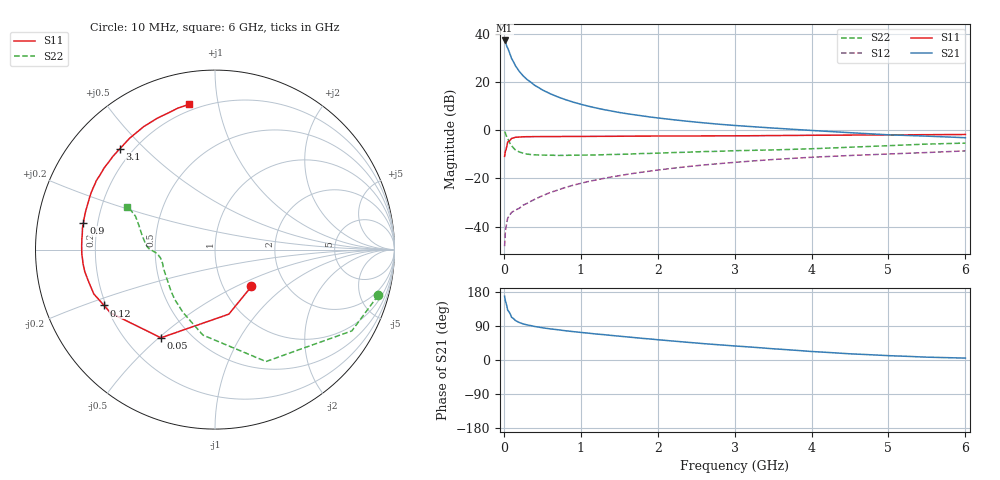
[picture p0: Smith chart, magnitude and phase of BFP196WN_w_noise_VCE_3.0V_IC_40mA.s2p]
! (c) 2017  Infineon Technologies AG, Munich
! Infineon Technologies  Discrete & RF Semiconductors
! BFP196WN
! VCE =  3.0 V,  IC =  40 mA
! Common Emitter S-Parameters:  Jan 2017
# GHz  S  MA  R  50
!  f  S11  S21  S12  S22
! GHz  MAG  ANG  MAG  ANG  MAG  ANG  MAG  ANG
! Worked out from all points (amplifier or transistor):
!   77 points, 10 MHz to 6 GHz, reference 50 ohm
!   highest |S21| = 37.4 dB at 10 MHz (marker M1)
!   |S21| within 3 dB of that: start of sweep to 46.97 MHz
!   unconditionally stable (mu >= 1): 653.4 MHz to 2.759 GHz
!   at 130 MHz: K = 0.50, MSG = 30.9 dB, |S12| = -33.6 dB
!   at 2.2 GHz: K = 1.02, MAG = 9.2 dB, |S12| = -15.7 dB
!   at 6 GHz: K = 0.92, MSG = 2.7 dB, |S12| = -8.5 dB
!   lowest NFmin = 1.16 dB at 450 MHz
!   S11 on the Smith chart (normalised r, x): 10 MHz: 1.35, -0.61; 50 MHz: 0.35, -0.51; 120 MHz: 0.19, -0.23; 900 MHz: 0.15, +0.10; 3.1 GHz: 0.15, +0.42; 6 GHz: 0.16, +0.82
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0.01  0.2886 -45.3  74.39 168.3  0.0039 76.5  0.9439 -15.7
0.02  0.3678 -77.9  68.51 156.1  0.0079 72.3  0.8868 -30.7
0.05  0.5764 -121.5  51.35 131.6  0.0149 52.2  0.6853 -65.5
0.1  0.6799 -148.7  31.5 112.9  0.0196 46.3  0.4813 -98.0
0.12  0.6923 -153.3  27.72 110.1  0.0206 46.3  0.4407 -104.6
0.15  0.719 -159.9  22.22 104.2  0.022 46.2  0.3935 -116.8
0.2  0.7276 -166.4  16.96 99.0  0.0239 48.5  0.3567 -129.1
0.25  0.7358 -170.4  13.71 95.3  0.0278 51.3  0.3358 -137.1
0.3  0.7391 -173.7  11.51 92.7  0.0302 54.7  0.3212 -143.8
0.4  0.7424 -178.3  8.696 88.4  0.0367 59.2  0.3102 -151.8
0.5  0.7432 178.4  6.97 85.1  0.0435 61.6  0.3064 -157.4
0.6  0.7439 175.5  5.824 82.2  0.0508 63.3  0.3049 -161.5
0.7  0.7446 173.2  4.987 79.9  0.0573 65.4  0.3019 -164.3
0.8  0.7482 170.7  4.369 77.2  0.065 66.4  0.3023 -166.3
0.9  0.7479 168.6  3.881 74.9  0.0722 66.0  0.3053 -168.1
1.1  0.7507 164.9  3.189 70.8  0.0865 66.9  0.3071 -171.1
1.5  0.7559 158.0  2.361 62.9  0.1143 65.6  0.3173 -174.9
2.1  0.7639 148.3  1.742 51.8  0.1564 62.1  0.3411 -178.2
3.1  0.7725 133.3  1.236 35.7  0.2225 54.3  0.381 176.9
4.1  0.7927 118.8  0.977 21.3  0.2807 45.9  0.4213 167.2
5.1  0.8065 108.0  0.799 10.7  0.3273 38.3  0.4885 156.7
6  0.8222 100.1  0.704 5.0  0.3744 32.3  0.5442 154.1
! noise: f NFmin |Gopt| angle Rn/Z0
0.45  1.16  0.5  -179  0.04
0.9  1.29  0.54  -173  0.05
1.9  2.21  0.68  -148  0.13
2.4  2.95  0.69  -141  0.26
